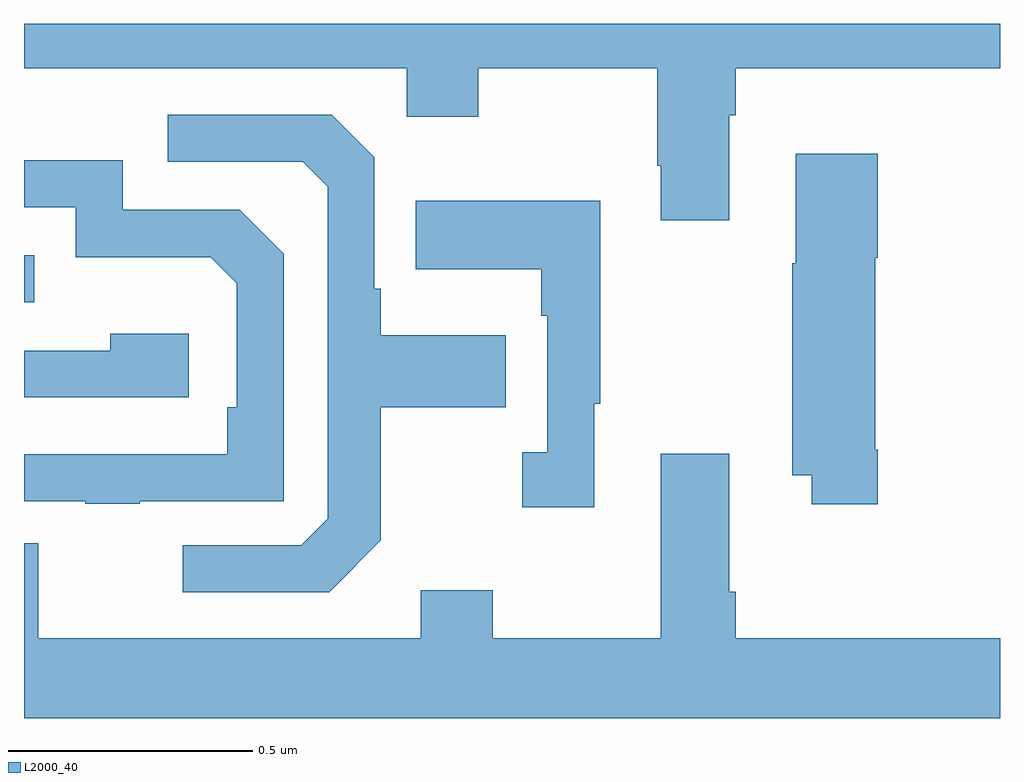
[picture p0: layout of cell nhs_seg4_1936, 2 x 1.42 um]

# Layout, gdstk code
import gdstk
lib = gdstk.Library(unit=1e-6, precision=1e-09)
def R(c, l, rs):  # rectangles x0, y0, x1, y1
    for r in rs: c.add(gdstk.rectangle(r[:2], r[2:], *l))
def P(c, l, *ps):  # polygons
    for p in ps: c.add(gdstk.Polygon(p, *l))
L2000_40 = (2000, 40)

nhs_seg4_1936 = lib.new_cell('nhs_seg4_1936')
R(nhs_seg4_1936, L2000_40, [(134,808.329,134.021,808.425)])
P(nhs_seg4_1936, L2000_40, [(135.445,808.712),(135.458,808.712),(135.458,808.808),(136,808.808),(136,808.9),(134,808.9),(134,808.808),(134.784,808.808),(134.784,808.709),(134.931,808.709),(134.931,808.808),(135.298,808.808),(135.298,808.609),(135.305,808.609),(135.305,808.497),(135.445,808.497)],
  [(134.731,807.841),(134.731,808.114),(134.987,808.114),(134.987,808.261),(134.731,808.261),(134.731,808.357),(134.718,808.357),(134.718,808.626),(134.631,808.713),(134.295,808.713),(134.295,808.617),(134.571,808.617),(134.622,808.566),(134.622,807.885),(134.568,807.831),(134.325,807.831),(134.325,807.735),(134.625,807.735)],
  [(135.749,808.027),(135.744,808.027),(135.744,808.42),(135.749,808.42),(135.749,808.633),(135.581,808.633),(135.581,808.409),(135.574,808.409),(135.574,807.974),(135.614,807.974),(135.614,807.915),(135.749,807.915)],
  [(134.237,807.921),(134.532,807.921),(134.532,808.428),(134.442,808.518),(134.202,808.518),(134.202,808.62),(134,808.62),(134,808.524),(134.106,808.524),(134.106,808.421),(134.383,808.421),(134.436,808.368),(134.436,808.114),(134.416,808.114),(134.416,808.017),(134,808.017),(134,807.921),(134.125,807.921),(134.125,807.916),(134.237,807.916)],
  [(135.169,808.121),(135.181,808.121),(135.181,808.537),(134.803,808.537),(134.803,808.397),(135.06,808.397),(135.06,808.301),(135.072,808.301),(135.072,808.022),(135.021,808.022),(135.021,807.909),(135.169,807.909)],
  [(134.338,808.264),(134.177,808.264),(134.177,808.23),(134,808.23),(134,808.134),(134.338,808.134)],
  [(136,807.64),(135.458,807.64),(135.458,807.736),(135.445,807.736),(135.445,808.018),(135.305,808.018),(135.305,807.64),(134.961,807.64),(134.961,807.739),(134.813,807.739),(134.813,807.64),(134.029,807.64),(134.029,807.835),(134,807.835),(134,807.476),(136,807.476)])

lib.write_gds('nhs_seg4_1936.gds')
